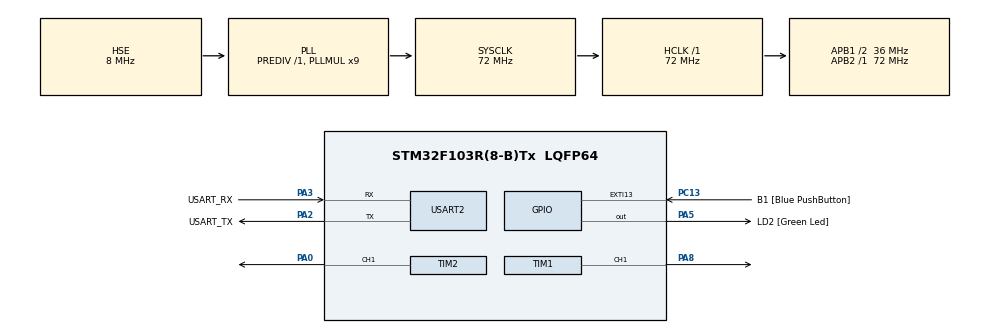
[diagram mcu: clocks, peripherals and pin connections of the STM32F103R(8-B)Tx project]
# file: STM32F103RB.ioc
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IWDG.Prescaler=IWDG_PRESCALER_32
Mcu.Family=STM32F1
Mcu.Name=STM32F103R(8-B)Tx
Mcu.Package=LQFP64
NVIC.EXTI15_10_IRQn=true\:0\:0\:false\:false\:true\:true
NVIC.PriorityGroup=NVIC_PRIORITYGROUP_4
NVIC.TIM2_IRQn=true\:0\:0\:false\:false\:true\:true
PA0-WKUP.Signal=S_TIM2_CH1_ETR
PA13.GPIO_Label=TMS
PA13.Mode=Serial_Wire
PA13.Signal=SYS_JTMS-SWDIO
PA14.GPIO_Label=TCK
PA14.Mode=Serial_Wire
PA14.Signal=SYS_JTCK-SWCLK
PA2.GPIO_Label=USART_TX
PA2.GPIO_Mode=GPIO_MODE_AF_PP
PA2.GPIO_PuPd=GPIO_NOPULL
PA2.GPIO_Speed=GPIO_SPEED_FREQ_LOW
PA2.Mode=Asynchronous
PA2.Signal=USART2_TX
PA3.GPIO_Label=USART_RX
PA3.GPIO_Mode=GPIO_MODE_AF_PP
PA3.GPIO_PuPd=GPIO_NOPULL
PA3.GPIO_Speed=GPIO_SPEED_FREQ_LOW
PA3.Mode=Asynchronous
PA3.Signal=USART2_RX
PA5.GPIO_Label=LD2 [Green Led]
PA5.GPIO_ModeDefaultOutputPP=GPIO_MODE_OUTPUT_PP
PA5.GPIO_PuPd=GPIO_NOPULL
PA5.GPIO_Speed=GPIO_SPEED_FREQ_LOW
PA5.Signal=GPIO_Output
PA8.Signal=S_TIM1_CH1
PC13-TAMPER-RTC.GPIO_Label=B1 [Blue PushButton]
PC13-TAMPER-RTC.GPIO_PuPd=GPIO_NOPULL
PC13-TAMPER-RTC.Signal=GPXTI13
PC14-OSC32_IN.Mode=LSE-External-Oscillator
PC14-OSC32_IN.Signal=RCC_OSC32_IN
PC15-OSC32_OUT.Mode=LSE-External-Oscillator
PC15-OSC32_OUT.Signal=RCC_OSC32_OUT
PD0-OSC_IN.Mode=HSE-External-Clock-Source
PD0-OSC_IN.Signal=RCC_OSC_IN
PD1-OSC_OUT.Mode=HSE-External-Clock-Source
PD1-OSC_OUT.Signal=RCC_OSC_OUT
ProjectManager.HeapSize=0x200
ProjectManager.StackSize=0x400
ProjectManager.TargetToolchain=MDK-ARM V5
RCC.AHBFreq_Value=72000000
RCC.APB1CLKDivider=RCC_HCLK_DIV2
RCC.APB1Freq_Value=36000000
RCC.APB1TimFreq_Value=72000000
RCC.APB2Freq_Value=72000000
RCC.APB2TimFreq_Value=72000000
RCC.HCLKFreq_Value=72000000
RCC.PLLMUL=RCC_PLL_MUL9
RCC.PLLSourceVirtual=RCC_PLLSOURCE_HSE
RCC.RTCClockSelection=RCC_RTCCLKSOURCE_LSE
RCC.SYSCLKFreq_VALUE=72000000
RCC.SYSCLKSource=RCC_SYSCLKSOURCE_PLLCLK
RCC.USBFreq_Value=72000000
SH.S_TIM1_CH1.0=TIM1_CH1,PWM Generation1 CH1
SH.S_TIM2_CH1_ETR.0=TIM2_CH1,PWM Generation1 CH1
TIM1.Channel-PWM\ Generation1\ CH1=TIM_CHANNEL_1
TIM1.Period=282
TIM1.Prescaler=256
TIM2.Channel-PWM\ Generation1\ CH1=TIM_CHANNEL_1
TIM2.Period=282
TIM2.Prescaler=256
USART2.VirtualMode=VM_ASYNC
VP_IWDG_VS_IWDG.Mode=IWDG_Activate
board=NUCLEO-F103RB

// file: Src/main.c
/**
  ******************************************************************************
  * @file           : main.c
  * @brief          : Main program body
  ******************************************************************************
  ** This notice applies to any and all portions of this file
  * that are not between comment pairs USER CODE BEGIN and
  * USER CODE END. Other portions of this file, whether
  * inserted by the user or by software development tools
  * are owned by their respective copyright owners.
  *
  * COPYRIGHT(c) 2018 STMicroelectronics
  *
  * Redistribution and use in source and binary forms, with or without modification,
  * are permitted provided that the following conditions are met:
  *   1. Redistributions of source code must retain the above copyright notice,
  *      this list of conditions and the following disclaimer.
  *   2. Redistributions in binary form must reproduce the above copyright notice,
  *      this list of conditions and the following disclaimer in the documentation
  *      and/or other materials provided with the distribution.
  *   3. Neither the name of STMicroelectronics nor the names of its contributors
  *      may be used to endorse or promote products derived from this software
  *      without specific prior written permission.
  *
  * THIS SOFTWARE IS PROVIDED BY THE COPYRIGHT HOLDERS AND CONTRIBUTORS "AS IS"
  * AND ANY EXPRESS OR IMPLIED WARRANTIES, INCLUDING, BUT NOT LIMITED TO, THE
  * IMPLIED WARRANTIES OF MERCHANTABILITY AND FITNESS FOR A PARTICULAR PURPOSE ARE
  * DISCLAIMED. IN NO EVENT SHALL THE COPYRIGHT HOLDER OR CONTRIBUTORS BE LIABLE
  * FOR ANY DIRECT, INDIRECT, INCIDENTAL, SPECIAL, EXEMPLARY, OR CONSEQUENTIAL
  * DAMAGES (INCLUDING, BUT NOT LIMITED TO, PROCUREMENT OF SUBSTITUTE GOODS OR
  * SERVICES; LOSS OF USE, DATA, OR PROFITS; OR BUSINESS INTERRUPTION) HOWEVER
  * CAUSED AND ON ANY THEORY OF LIABILITY, WHETHER IN CONTRACT, STRICT LIABILITY,
  * OR TORT (INCLUDING NEGLIGENCE OR OTHERWISE) ARISING IN ANY WAY OUT OF THE USE
  * OF THIS SOFTWARE, EVEN IF ADVISED OF THE POSSIBILITY OF SUCH DAMAGE.
  *
  ******************************************************************************
  */
#include "main.h"
#include "stm32f1xx_hal.h"

/* USER CODE BEGIN Includes */
#define GREEN_LED_PORT  GPIOA                //WRITTEN BY VINCENT
#define GREEN_LED_PIN   GPIO_PIN_5	         //WRITTEN BY VINCENT
#define BUTTON_PORT     GPIOC								 //WRITTEN BY VINCENT
#define BUTTON_PIN      GPIO_PIN_13					 //WRITTEN BY VINCENT
#include "stdbool.h"   //WRITTEN BY VINCENT => We want to use BOOLEAN TYPE

/* USER CODE END Includes */

IWDG_HandleTypeDef hiwdg;

TIM_HandleTypeDef htim1;
TIM_HandleTypeDef htim2;

UART_HandleTypeDef huart2;

/* USER CODE BEGIN PV */
/* Private variables ---------------------------------------------------------*/
bool flag = false;                          //WRITTEN BY VINCENT
int timer_counter = 0;											 //WRITTEN BY VINCENT
uint8_t MESSAGE[1];                          //WRITTEN BY VINCENT , MESSAGE LENGTH LIMITED AS 1
uint8_t START[7] = "START\n\r"; 						 //WRITTEN BY VINCENT
/* USER CODE END PV */

void SystemClock_Config(void);
static void MX_GPIO_Init(void);
static void MX_USART2_UART_Init(void);
static void MX_TIM1_Init(void);
static void MX_TIM2_Init(void);
static void MX_IWDG_Init(void);

void HAL_TIM_MspPostInit(TIM_HandleTypeDef *htim);

/* USER CODE BEGIN PFP */
/* Private function prototypes -----------------------------------------------*/

/* USER CODE END PFP */

int main(void)
{

  /* MCU Configuration----------------------------------------------------------*/

  /* Reset of all peripherals, Initializes the Flash interface and the Systick. */
  HAL_Init();

  /* Configure the system clock */
  SystemClock_Config();

  /* Initialize all configured peripherals */
  MX_GPIO_Init();
  MX_USART2_UART_Init();
  MX_TIM1_Init();
  MX_TIM2_Init();
  MX_IWDG_Init();
  /* USER CODE BEGIN 2 */

  //*******************WRITTEN BY VINCENT********************************//
  /*
	  If you have some default setup, it is good to write here since this part
		is not included in the while(1) loop and all peripherals are initialized.
	*/
	HAL_TIM_PWM_Start(&htim1,TIM_CHANNEL_1);  //START PWM PA8 - 41
	HAL_TIM_PWM_Start(&htim2,TIM_CHANNEL_1);  //START PWM PA0 - 14
	HAL_GPIO_WritePin(GREEN_LED_PORT,GREEN_LED_PIN,GPIO_PIN_RESET); //Default ON BOARD LED IS OFF
	HAL_UART_Transmit(&huart2, START ,sizeof(START),100);           //SEND SOME TEXT SO YOU KNOW YOUR PROGRAM IS STARTED
 //*******************WRITTEN BY VINCENT********************************//

  /* USER CODE END 2 */

  /* Infinite loop */
  /* USER CODE BEGIN WHILE */
  while (1)
  {

  //*******************WRITTEN BY VINCENT********************************//

  HAL_UART_Receive(&huart2,MESSAGE,sizeof(MESSAGE),500); //Receiving message from PC
	HAL_Delay(300); //Just slow it down
	HAL_UART_Transmit(&huart2,MESSAGE,sizeof(MESSAGE),500); //Send what you received back to PC

	if (MESSAGE[0] == 'A')
	{
		__HAL_TIM_SET_COMPARE(&htim2, TIM_CHANNEL_1,30);        //WHEN STM32 received 'A', LED is drived by PWM
		__HAL_TIM_SET_COMPARE(&htim1, TIM_CHANNEL_1,100);       //PIN41 LED will be BRIGHTER than PIN14 because it has larger duty cycle
	}
		if (MESSAGE[0] == 'B')
	{
		while(1); //Create Infinity Loop so you cannot refresh watchdog, chip will be reset
	}
	HAL_IWDG_Refresh(&hiwdg);    //Refresh Watchdog	(within 3.2 second)

	/*ABOUT IWWDG

	Prescalar divider:   PR:
	/4									 0
	/8                   1
	/16								   2
	/32									 3
	/64									 4
	/128								 5
	/256								 6

	You must refresh watchdog in T seconds

	where T = ( 4 x Prescalar_divider x 2^PR) / (LSI clocker frequency)

	**LSI = Low speed internal = 40kHz
	*/

	//*******************WRITTEN BY VINCENT********************************//

  /* USER CODE END WHILE */

  }

}

void SystemClock_Config(void)
{

  RCC_OscInitTypeDef RCC_OscInitStruct;
  RCC_ClkInitTypeDef RCC_ClkInitStruct;

    /**Initializes the CPU, AHB and APB busses clocks
    */
  RCC_OscInitStruct.OscillatorType = RCC_OSCILLATORTYPE_LSI|RCC_OSCILLATORTYPE_HSE;
  RCC_OscInitStruct.HSEState = RCC_HSE_BYPASS;
  RCC_OscInitStruct.HSEPredivValue = RCC_HSE_PREDIV_DIV1;
  RCC_OscInitStruct.HSIState = RCC_HSI_ON;
  RCC_OscInitStruct.LSIState = RCC_LSI_ON;
  RCC_OscInitStruct.PLL.PLLState = RCC_PLL_ON;
  RCC_OscInitStruct.PLL.PLLSource = RCC_PLLSOURCE_HSE;
  RCC_OscInitStruct.PLL.PLLMUL = RCC_PLL_MUL9;
  if (HAL_RCC_OscConfig(&RCC_OscInitStruct) != HAL_OK)
  {
    _Error_Handler(__FILE__, __LINE__);
  }

    /**Initializes the CPU, AHB and APB busses clocks
    */
  RCC_ClkInitStruct.ClockType = RCC_CLOCKTYPE_HCLK|RCC_CLOCKTYPE_SYSCLK
                              |RCC_CLOCKTYPE_PCLK1|RCC_CLOCKTYPE_PCLK2;
  RCC_ClkInitStruct.SYSCLKSource = RCC_SYSCLKSOURCE_PLLCLK;
  RCC_ClkInitStruct.AHBCLKDivider = RCC_SYSCLK_DIV1;
  RCC_ClkInitStruct.APB1CLKDivider = RCC_HCLK_DIV2;
  RCC_ClkInitStruct.APB2CLKDivider = RCC_HCLK_DIV1;

  if (HAL_RCC_ClockConfig(&RCC_ClkInitStruct, FLASH_LATENCY_2) != HAL_OK)
  {
    _Error_Handler(__FILE__, __LINE__);
  }

    /**Configure the Systick interrupt time
    */
  HAL_SYSTICK_Config(HAL_RCC_GetHCLKFreq()/1000);

    /**Configure the Systick
    */
  HAL_SYSTICK_CLKSourceConfig(SYSTICK_CLKSOURCE_HCLK);

  /* SysTick_IRQn interrupt configuration */
  HAL_NVIC_SetPriority(SysTick_IRQn, 0, 0);
}

/* IWDG init function */
static void MX_IWDG_Init(void)
{

  hiwdg.Instance = IWDG;
  hiwdg.Init.Prescaler = IWDG_PRESCALER_32;
  hiwdg.Init.Reload = 4095;
  if (HAL_IWDG_Init(&hiwdg) != HAL_OK)
  {
    _Error_Handler(__FILE__, __LINE__);
  }

}

/* TIM1 init function */
static void MX_TIM1_Init(void)
{

  TIM_MasterConfigTypeDef sMasterConfig;
  TIM_OC_InitTypeDef sConfigOC;
  TIM_BreakDeadTimeConfigTypeDef sBreakDeadTimeConfig;

  htim1.Instance = TIM1;
  htim1.Init.Prescaler = 256;
  htim1.Init.CounterMode = TIM_COUNTERMODE_UP;
  htim1.Init.Period = 282;
  htim1.Init.ClockDivision = TIM_CLOCKDIVISION_DIV1;
  htim1.Init.RepetitionCounter = 0;
  htim1.Init.AutoReloadPreload = TIM_AUTORELOAD_PRELOAD_DISABLE;
  if (HAL_TIM_PWM_Init(&htim1) != HAL_OK)
  {
    _Error_Handler(__FILE__, __LINE__);
  }

  sMasterConfig.MasterOutputTrigger = TIM_TRGO_RESET;
  sMasterConfig.MasterSlaveMode = TIM_MASTERSLAVEMODE_DISABLE;
  if (HAL_TIMEx_MasterConfigSynchronization(&htim1, &sMasterConfig) != HAL_OK)
  {
    _Error_Handler(__FILE__, __LINE__);
  }

  sConfigOC.OCMode = TIM_OCMODE_PWM1;
  sConfigOC.Pulse = 0;
  sConfigOC.OCPolarity = TIM_OCPOLARITY_HIGH;
  sConfigOC.OCNPolarity = TIM_OCNPOLARITY_HIGH;
  sConfigOC.OCFastMode = TIM_OCFAST_DISABLE;
  sConfigOC.OCIdleState = TIM_OCIDLESTATE_RESET;
  sConfigOC.OCNIdleState = TIM_OCNIDLESTATE_RESET;
  if (HAL_TIM_PWM_ConfigChannel(&htim1, &sConfigOC, TIM_CHANNEL_1) != HAL_OK)
  {
    _Error_Handler(__FILE__, __LINE__);
  }

  sBreakDeadTimeConfig.OffStateRunMode = TIM_OSSR_DISABLE;
  sBreakDeadTimeConfig.OffStateIDLEMode = TIM_OSSI_DISABLE;
  sBreakDeadTimeConfig.LockLevel = TIM_LOCKLEVEL_OFF;
  sBreakDeadTimeConfig.DeadTime = 0;
  sBreakDeadTimeConfig.BreakState = TIM_BREAK_DISABLE;
  sBreakDeadTimeConfig.BreakPolarity = TIM_BREAKPOLARITY_HIGH;
  sBreakDeadTimeConfig.AutomaticOutput = TIM_AUTOMATICOUTPUT_DISABLE;
  if (HAL_TIMEx_ConfigBreakDeadTime(&htim1, &sBreakDeadTimeConfig) != HAL_OK)
  {
    _Error_Handler(__FILE__, __LINE__);
  }

  HAL_TIM_MspPostInit(&htim1);

}

/* TIM2 init function */
static void MX_TIM2_Init(void)
{

  TIM_MasterConfigTypeDef sMasterConfig;
  TIM_OC_InitTypeDef sConfigOC;

  htim2.Instance = TIM2;
  htim2.Init.Prescaler = 256;
  htim2.Init.CounterMode = TIM_COUNTERMODE_UP;
  htim2.Init.Period = 282;
  htim2.Init.ClockDivision = TIM_CLOCKDIVISION_DIV1;
  htim2.Init.AutoReloadPreload = TIM_AUTORELOAD_PRELOAD_DISABLE;
  if (HAL_TIM_PWM_Init(&htim2) != HAL_OK)
  {
    _Error_Handler(__FILE__, __LINE__);
  }

  sMasterConfig.MasterOutputTrigger = TIM_TRGO_RESET;
  sMasterConfig.MasterSlaveMode = TIM_MASTERSLAVEMODE_DISABLE;
  if (HAL_TIMEx_MasterConfigSynchronization(&htim2, &sMasterConfig) != HAL_OK)
  {
    _Error_Handler(__FILE__, __LINE__);
  }

  sConfigOC.OCMode = TIM_OCMODE_PWM1;
  sConfigOC.Pulse = 0;
  sConfigOC.OCPolarity = TIM_OCPOLARITY_HIGH;
  sConfigOC.OCFastMode = TIM_OCFAST_DISABLE;
  if (HAL_TIM_PWM_ConfigChannel(&htim2, &sConfigOC, TIM_CHANNEL_1) != HAL_OK)
  {
    _Error_Handler(__FILE__, __LINE__);
  }

  HAL_TIM_MspPostInit(&htim2);

}

/* USART2 init function */
static void MX_USART2_UART_Init(void)
{

  huart2.Instance = USART2;
  huart2.Init.BaudRate = 115200;
  huart2.Init.WordLength = UART_WORDLENGTH_8B;
  huart2.Init.StopBits = UART_STOPBITS_1;
  huart2.Init.Parity = UART_PARITY_NONE;
  huart2.Init.Mode = UART_MODE_TX_RX;
  huart2.Init.HwFlowCtl = UART_HWCONTROL_NONE;
  huart2.Init.OverSampling = UART_OVERSAMPLING_16;
  if (HAL_UART_Init(&huart2) != HAL_OK)
  {
    _Error_Handler(__FILE__, __LINE__);
  }

}

/** Configure pins as
        * Analog
        * Input
        * Output
        * EVENT_OUT
        * EXTI
*/
static void MX_GPIO_Init(void)
{

  GPIO_InitTypeDef GPIO_InitStruct;

  /* GPIO Ports Clock Enable */
  __HAL_RCC_GPIOC_CLK_ENABLE();
  __HAL_RCC_GPIOD_CLK_ENABLE();
  __HAL_RCC_GPIOA_CLK_ENABLE();

  /*Configure GPIO pin Output Level */
  HAL_GPIO_WritePin(LD2_GPIO_Port, LD2_Pin, GPIO_PIN_RESET);

  /*Configure GPIO pin : B1_Pin */
  GPIO_InitStruct.Pin = B1_Pin;
  GPIO_InitStruct.Mode = GPIO_MODE_IT_RISING;
  GPIO_InitStruct.Pull = GPIO_NOPULL;
  HAL_GPIO_Init(B1_GPIO_Port, &GPIO_InitStruct);

  /*Configure GPIO pin : LD2_Pin */
  GPIO_InitStruct.Pin = LD2_Pin;
  GPIO_InitStruct.Mode = GPIO_MODE_OUTPUT_PP;
  GPIO_InitStruct.Speed = GPIO_SPEED_FREQ_LOW;
  HAL_GPIO_Init(LD2_GPIO_Port, &GPIO_InitStruct);

  /* EXTI interrupt init*/
  HAL_NVIC_SetPriority(EXTI15_10_IRQn, 0, 0);
  HAL_NVIC_EnableIRQ(EXTI15_10_IRQn);

}

void _Error_Handler(char *file, int line)
{
  while(1)
  {
  }
}

/************************ (C) COPYRIGHT STMicroelectronics *****END OF FILE****/
